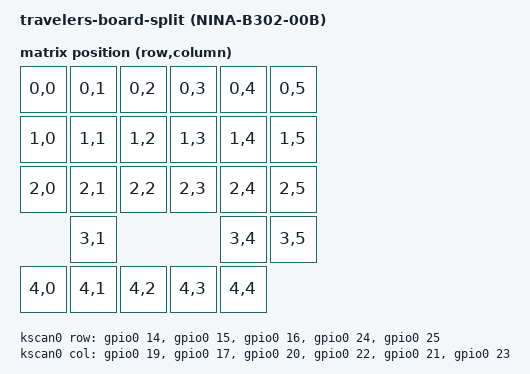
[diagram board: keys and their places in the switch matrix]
/dts-v1/;

#include <nordic/nrf52840_qiaa.dtsi>
#include <dt-bindings/zmk/matrix_transform.h>

/ {
    model = "travelers-board-split (NINA-B302-00B)";
    compatible = "travelers-board-split";

    chosen {
        zephyr,code-partition = &code_partition;
        zephyr,flash = &flash0;
        zephyr,sram = &sram0;
        zmk,kscan = &kscan0;
        zmk,matrix-transform = &default_transform;
        zmk,battery = &vbat;
    };

    default_transform: keymap_transform_0 {
        compatible = "zmk,matrix-transform";
        rows = <5>;
        columns = <6>;
        map = <
            RC(0,0) RC(0,1) RC(0,2) RC(0,3) RC(0,4) RC(0,5)
            RC(1,0) RC(1,1) RC(1,2) RC(1,3) RC(1,4) RC(1,5)
            RC(2,0) RC(2,1) RC(2,2) RC(2,3) RC(2,4) RC(2,5)
                    RC(3,1)                 RC(3,4) RC(3,5)
            RC(4,0) RC(4,1) RC(4,2) RC(4,3) RC(4,4)
        >;
    };

    kscan0: kscan_0 {
        compatible = "zmk,kscan-gpio-matrix";
        /* col2row: rows are active-high inputs with internal pull-downs. */
        row-gpios = <
            &gpio0 14 (GPIO_ACTIVE_HIGH | GPIO_PULL_DOWN)
            &gpio0 15 (GPIO_ACTIVE_HIGH | GPIO_PULL_DOWN)
            &gpio0 16 (GPIO_ACTIVE_HIGH | GPIO_PULL_DOWN)
            &gpio0 24 (GPIO_ACTIVE_HIGH | GPIO_PULL_DOWN)
            &gpio0 25 (GPIO_ACTIVE_HIGH | GPIO_PULL_DOWN)
        >;
        /* col2row: columns are active-high scan outputs. */
        col-gpios = <
            &gpio0 19 GPIO_ACTIVE_HIGH
            &gpio0 17 GPIO_ACTIVE_HIGH
            &gpio0 20 GPIO_ACTIVE_HIGH
            &gpio0 22 GPIO_ACTIVE_HIGH
            &gpio0 21 GPIO_ACTIVE_HIGH
            &gpio0 23 GPIO_ACTIVE_HIGH
        >;
        diode-direction = "col2row";
    };

    /* P0.04 is nRF52840 SAADC AIN2; VBAT_EN measures switched, loaded VDD. */
    vbat: battery {
        compatible = "zmk,power-gated-battery-voltage-divider";
        status = "okay";
        io-channels = <&adc 2>;
        output-ohms = <1000000>;
        full-ohms = <2000000>;
        power-gpios = <&gpio0 13 GPIO_ACTIVE_HIGH>;
        settle-delay-ms = <300>;
        /* Uses the module's CR2032 loaded-VDD defaults: 2.0 V = 0%, 3.0 V = 100%. */
    };
};

&adc {
    status = "okay";
};

&gpiote {
    status = "okay";
};

&gpio0 {
    status = "okay";
};

&gpio1 {
    status = "okay";
};

&uart0 {
    status = "disabled";
};

&usbd {
    status = "disabled";
};

&flash0 {
    partitions {
        compatible = "fixed-partitions";
        #address-cells = <1>;
        #size-cells = <1>;

        /* No MBR, SoftDevice, MCUboot, or UF2 bootloader: application at 0. */
        code_partition: partition@0 {
            label = "code";
            reg = <0x00000000 0x000e0000>;
        };

        /* 128 KiB NVS/settings area, retained across normal HEX updates. */
        storage_partition: partition@e0000 {
            label = "storage";
            reg = <0x000e0000 0x00020000>;
        };
    };
};
